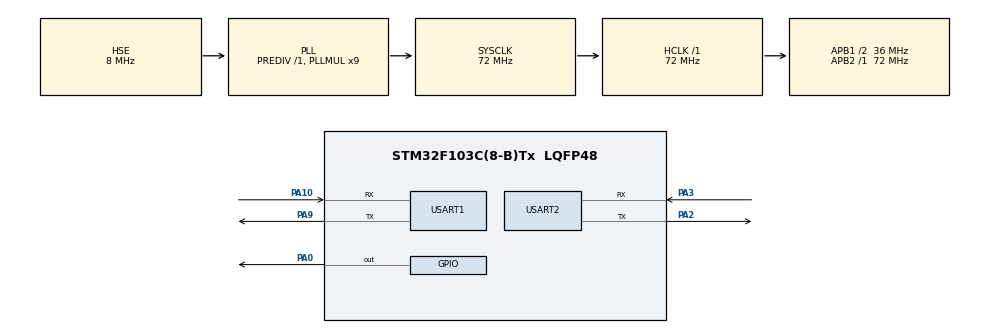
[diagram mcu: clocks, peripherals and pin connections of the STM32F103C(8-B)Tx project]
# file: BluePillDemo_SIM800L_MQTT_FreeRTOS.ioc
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Dma.Request0=USART1_RX
Dma.Request1=USART1_TX
Dma.USART1_RX.0.Direction=DMA_PERIPH_TO_MEMORY
Dma.USART1_RX.0.Instance=DMA1_Channel5
Dma.USART1_RX.0.MemDataAlignment=DMA_MDATAALIGN_BYTE
Dma.USART1_RX.0.MemInc=DMA_MINC_ENABLE
Dma.USART1_RX.0.Mode=DMA_CIRCULAR
Dma.USART1_RX.0.PeriphDataAlignment=DMA_PDATAALIGN_BYTE
Dma.USART1_RX.0.PeriphInc=DMA_PINC_DISABLE
Dma.USART1_RX.0.Priority=DMA_PRIORITY_VERY_HIGH
Dma.USART1_TX.1.Direction=DMA_MEMORY_TO_PERIPH
Dma.USART1_TX.1.Instance=DMA1_Channel4
Dma.USART1_TX.1.MemDataAlignment=DMA_MDATAALIGN_BYTE
Dma.USART1_TX.1.MemInc=DMA_MINC_ENABLE
Dma.USART1_TX.1.Mode=DMA_NORMAL
Dma.USART1_TX.1.PeriphDataAlignment=DMA_PDATAALIGN_BYTE
Dma.USART1_TX.1.PeriphInc=DMA_PINC_DISABLE
Dma.USART1_TX.1.Priority=DMA_PRIORITY_VERY_HIGH
FREERTOS.Mutexes01=modemMutex,Static,modemMutexControlBlock
FREERTOS.Queues01=commandQueue,1,AtCommandPacket_t,0,Static,commandQueueBuffer,commandQueueControlBlock;responseQueue,1,AtResponsePacket_t,0,Static,responseQueueBuffer,responseQueueControlBlock
FREERTOS.Tasks01=main,24,250,mainTask,Default,NULL,Static,mainBuffer,mainControlBlock;modem,8,350,modemTask,Default,NULL,Static,modemBuffer,modemControlBlock
FREERTOS.configCHECK_FOR_STACK_OVERFLOW=2
Mcu.Family=STM32F1
Mcu.Name=STM32F103C(8-B)Tx
Mcu.Package=LQFP48
NVIC.DMA1_Channel4_IRQn=true\:5\:0\:false\:false\:true\:true\:false\:true
NVIC.DMA1_Channel5_IRQn=true\:5\:0\:false\:false\:true\:true\:false\:true
NVIC.PriorityGroup=NVIC_PRIORITYGROUP_4
NVIC.TIM1_UP_IRQn=true\:0\:0\:false\:false\:true\:false\:false\:true
NVIC.TimeBase=TIM1_UP_IRQn
NVIC.TimeBaseIP=TIM1
NVIC.USART1_IRQn=true\:5\:0\:false\:false\:true\:true\:true\:true
PA0-WKUP.Signal=GPIO_Output
PA10.Mode=Asynchronous
PA10.Signal=USART1_RX
PA13.Mode=Serial_Wire
PA13.Signal=SYS_JTMS-SWDIO
PA14.Mode=Serial_Wire
PA14.Signal=SYS_JTCK-SWCLK
PA2.Mode=Asynchronous
PA2.Signal=USART2_TX
PA3.Mode=Asynchronous
PA3.Signal=USART2_RX
PA9.Mode=Asynchronous
PA9.Signal=USART1_TX
PC14-OSC32_IN.Mode=LSE-External-Oscillator
PC14-OSC32_IN.Signal=RCC_OSC32_IN
PC15-OSC32_OUT.Mode=LSE-External-Oscillator
PC15-OSC32_OUT.Signal=RCC_OSC32_OUT
PD0-OSC_IN.Mode=HSE-External-Oscillator
PD0-OSC_IN.Signal=RCC_OSC_IN
PD1-OSC_OUT.Mode=HSE-External-Oscillator
PD1-OSC_OUT.Signal=RCC_OSC_OUT
ProjectManager.HeapSize=0x200
ProjectManager.StackSize=0x400
ProjectManager.TargetToolchain=STM32CubeIDE
RCC.AHBFreq_Value=72000000
RCC.APB1CLKDivider=RCC_HCLK_DIV2
RCC.APB1Freq_Value=36000000
RCC.APB1TimFreq_Value=72000000
RCC.APB2Freq_Value=72000000
RCC.APB2TimFreq_Value=72000000
RCC.HCLKFreq_Value=72000000
RCC.PLLMUL=RCC_PLL_MUL9
RCC.PLLSourceVirtual=RCC_PLLSOURCE_HSE
RCC.SYSCLKFreq_VALUE=72000000
RCC.SYSCLKSource=RCC_SYSCLKSOURCE_PLLCLK
RCC.USBFreq_Value=72000000
USART1.VirtualMode=VM_ASYNC
USART2.VirtualMode=VM_ASYNC
VP_FREERTOS_VS_CMSIS_V2.Mode=CMSIS_V2
VP_SYS_VS_tim1.Mode=TIM1
board=custom

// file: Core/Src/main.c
/* USER CODE BEGIN Header */
/**
  ******************************************************************************
  * @file           : main.c
  * @brief          : Main program body
  ******************************************************************************
  * @attention
  *
  * <h2><center>&copy; Copyright (c) 2020 STMicroelectronics.
  * All rights reserved.</center></h2>
  *
  * This software component is licensed by ST under BSD 3-Clause license,
  * the "License"; You may not use this file except in compliance with the
  * License. You may obtain a copy of the License at:
  *                        opensource.org/licenses/BSD-3-Clause
  *
  ******************************************************************************
  */
/* USER CODE END Header */

#include "main.h"
#include "cmsis_os.h"

/* USER CODE BEGIN Includes */
#include <stdlib.h>
#include <string.h>
#include "task.h"
#include "modem.h"
#include "buffered_serial.h"
#include "mqtt.h"

/* USER CODE END Includes */

/* USER CODE BEGIN PD */
#define ACCESS_POINT_NAME		"everywhere"
#define USER_NAME				"eesecure"
#define PASSWORD				"secure"

/* USER CODE END PD */

UART_HandleTypeDef huart1;
UART_HandleTypeDef huart2;
DMA_HandleTypeDef hdma_usart1_rx;
DMA_HandleTypeDef hdma_usart1_tx;

typedef StaticTask_t osStaticThreadDef_t;
typedef StaticQueue_t osStaticMessageQDef_t;
typedef StaticSemaphore_t osStaticMutexDef_t;
osThreadId_t mainHandle;
uint32_t mainBuffer[ 250 ];
osStaticThreadDef_t mainControlBlock;
osThreadId_t modemHandle;
uint32_t modemBuffer[ 350 ];
osStaticThreadDef_t modemControlBlock;
osMessageQueueId_t commandQueueHandle;
uint8_t commandQueueBuffer[ 1 * sizeof( AtCommandPacket_t ) ];
osStaticMessageQDef_t commandQueueControlBlock;
osMessageQueueId_t responseQueueHandle;
uint8_t responseQueueBuffer[ 1 * sizeof( AtResponsePacket_t ) ];
osStaticMessageQDef_t responseQueueControlBlock;
osMutexId_t modemMutexHandle;
osStaticMutexDef_t modemMutexControlBlock;
/* USER CODE BEGIN PV */
osEventFlagsId_t modemTaskStartedEventHandle;

/* USER CODE END PV */

void SystemClock_Config(void);
static void MX_GPIO_Init(void);
static void MX_DMA_Init(void);
static void MX_USART1_UART_Init(void);
static void MX_USART2_UART_Init(void);
void mainTask(void *argument);
void modemTask(void *argument);

/* USER CODE BEGIN PFP */
void DebugPrint(const char *text);
void ModemDebugPrintStatus(const char *text, ModemStatus_t modemStatus);
void MqttDebugPrintStatus(const char *text, MqttStatus_t mqttStatus);
void PublishCallback(const char *topic, uint8_t topicLength, const uint8_t *payload, uint32_t payloadLength);
void PingResponseCallback(void);
void SubscribeResponseCallback(uint16_t packetIdentifier, bool success);
void UnsubscribeResponseCallback(uint16_t packetIdentifier);

/* USER CODE END PFP */

/* USER CODE BEGIN 0 */
static bool pingResponseReceived;
static bool subscribeResponseReceived;
static bool unsubscribeResponseReceived;
static uint16_t subscribeResponsePacketIdentifier;
static uint16_t unsubscribeResponsePacketIdentifier;

void PublishCallback(const char *topic, uint8_t topicLength, const uint8_t *payload, uint32_t payloadLength)
{
  DebugPrint("Publish callback: ");
  HAL_UART_Transmit(&huart2, (uint8_t *)topic, topicLength, 100U);
  DebugPrint(",");
  HAL_UART_Transmit(&huart2, (uint8_t *)payload, payloadLength, 100U);
  DebugPrint("\r\n");
}

void PingResponseCallback(void)
{
  pingResponseReceived = true;
}

void SubscribeResponseCallback(uint16_t packetIdentifier, bool success)
{
  subscribeResponseReceived = success;
  subscribeResponsePacketIdentifier = packetIdentifier;
  char numberBuffer[10];

  DebugPrint("Subscribe response callback: ");
  if (success)
  {
	DebugPrint("success,");
  }
  else
  {
	DebugPrint("fail,");
  }
  itoa((int)packetIdentifier, numberBuffer, 10);
  DebugPrint(numberBuffer);
  DebugPrint("\r\n");
}

void UnsubscribeResponseCallback(uint16_t packetIdentifier)
{
  unsubscribeResponseReceived = true;
  unsubscribeResponsePacketIdentifier = packetIdentifier;
  char numberBuffer[10];

  DebugPrint("Subscribe response callback: ");
  itoa((int)packetIdentifier, numberBuffer, 10);
  DebugPrint(numberBuffer);
  DebugPrint("\r\n");
}

void MqttDebugPrintStatus(const char *text, MqttStatus_t mqttStatus)
{
  DebugPrint(text);
  DebugPrint(": ");
  DebugPrint(MqttStatusToText(mqttStatus));
  DebugPrint("\r\n");
}

void DebugPrint(const char *text)
{
  HAL_UART_Transmit(&huart2, (uint8_t *)text, strlen(text), 100U);
}

void ModemDebugPrintStatus(const char *text, ModemStatus_t modemStatus)
{
  DebugPrint(text);
  DebugPrint(": ");
  DebugPrint(ModemStatusToText(modemStatus));
  DebugPrint("\r\n");
}

/* USER CODE END 0 */

int main(void)
{

  /* MCU Configuration--------------------------------------------------------*/

  /* Reset of all peripherals, Initializes the Flash interface and the Systick. */
  HAL_Init();

  /* Configure the system clock */
  SystemClock_Config();

  /* Initialize all configured peripherals */
  MX_GPIO_Init();
  MX_DMA_Init();
  MX_USART1_UART_Init();
  MX_USART2_UART_Init();
  /* USER CODE BEGIN 2 */
  serial_init();
  HAL_UART_Transmit(&huart2, (uint8_t *)"MQTT Test\r\n", 11U, 100UL);

  /* USER CODE END 2 */

  osKernelInitialize();

  /* Create the mutex(es) */
  /* definition and creation of modemMutex */
  const osMutexAttr_t modemMutex_attributes = {
    .name = "modemMutex",
    .cb_mem = &modemMutexControlBlock,
    .cb_size = sizeof(modemMutexControlBlock),
  };
  modemMutexHandle = osMutexNew(&modemMutex_attributes);

  /* USER CODE BEGIN RTOS_SEMAPHORES */
  /* add semaphores, ... */
  modemTaskStartedEventHandle = osEventFlagsNew(NULL);

  /* USER CODE END RTOS_SEMAPHORES */

  /* Create the queue(s) */
  /* definition and creation of commandQueue */
  const osMessageQueueAttr_t commandQueue_attributes = {
    .name = "commandQueue",
    .cb_mem = &commandQueueControlBlock,
    .cb_size = sizeof(commandQueueControlBlock),
    .mq_mem = &commandQueueBuffer,
    .mq_size = sizeof(commandQueueBuffer)
  };
  commandQueueHandle = osMessageQueueNew (1, sizeof(AtCommandPacket_t), &commandQueue_attributes);

  /* definition and creation of responseQueue */
  const osMessageQueueAttr_t responseQueue_attributes = {
    .name = "responseQueue",
    .cb_mem = &responseQueueControlBlock,
    .cb_size = sizeof(responseQueueControlBlock),
    .mq_mem = &responseQueueBuffer,
    .mq_size = sizeof(responseQueueBuffer)
  };
  responseQueueHandle = osMessageQueueNew (1, sizeof(AtResponsePacket_t), &responseQueue_attributes);

  /* Create the thread(s) */
  /* definition and creation of main */
  const osThreadAttr_t main_attributes = {
    .name = "main",
    .stack_mem = &mainBuffer[0],
    .stack_size = sizeof(mainBuffer),
    .cb_mem = &mainControlBlock,
    .cb_size = sizeof(mainControlBlock),
    .priority = (osPriority_t) osPriorityNormal,
  };
  mainHandle = osThreadNew(mainTask, NULL, &main_attributes);

  /* definition and creation of modem */
  const osThreadAttr_t modem_attributes = {
    .name = "modem",
    .stack_mem = &modemBuffer[0],
    .stack_size = sizeof(modemBuffer),
    .cb_mem = &modemControlBlock,
    .cb_size = sizeof(modemControlBlock),
    .priority = (osPriority_t) osPriorityLow,
  };
  modemHandle = osThreadNew(modemTask, NULL, &modem_attributes);

  /* Start scheduler */
  osKernelStart();

  /* We should never get here as control is now taken by the scheduler */

  /* Infinite loop */
  while (1)
  {

  }
}

void SystemClock_Config(void)
{
  RCC_OscInitTypeDef RCC_OscInitStruct = {0};
  RCC_ClkInitTypeDef RCC_ClkInitStruct = {0};

  /** Initializes the CPU, AHB and APB busses clocks
  */
  RCC_OscInitStruct.OscillatorType = RCC_OSCILLATORTYPE_HSE;
  RCC_OscInitStruct.HSEState = RCC_HSE_ON;
  RCC_OscInitStruct.HSEPredivValue = RCC_HSE_PREDIV_DIV1;
  RCC_OscInitStruct.HSIState = RCC_HSI_ON;
  RCC_OscInitStruct.PLL.PLLState = RCC_PLL_ON;
  RCC_OscInitStruct.PLL.PLLSource = RCC_PLLSOURCE_HSE;
  RCC_OscInitStruct.PLL.PLLMUL = RCC_PLL_MUL9;
  if (HAL_RCC_OscConfig(&RCC_OscInitStruct) != HAL_OK)
  {
    Error_Handler();
  }
  /** Initializes the CPU, AHB and APB busses clocks
  */
  RCC_ClkInitStruct.ClockType = RCC_CLOCKTYPE_HCLK|RCC_CLOCKTYPE_SYSCLK
                              |RCC_CLOCKTYPE_PCLK1|RCC_CLOCKTYPE_PCLK2;
  RCC_ClkInitStruct.SYSCLKSource = RCC_SYSCLKSOURCE_PLLCLK;
  RCC_ClkInitStruct.AHBCLKDivider = RCC_SYSCLK_DIV1;
  RCC_ClkInitStruct.APB1CLKDivider = RCC_HCLK_DIV2;
  RCC_ClkInitStruct.APB2CLKDivider = RCC_HCLK_DIV1;

  if (HAL_RCC_ClockConfig(&RCC_ClkInitStruct, FLASH_LATENCY_2) != HAL_OK)
  {
    Error_Handler();
  }
}

static void MX_USART1_UART_Init(void)
{

  huart1.Instance = USART1;
  huart1.Init.BaudRate = 115200;
  huart1.Init.WordLength = UART_WORDLENGTH_8B;
  huart1.Init.StopBits = UART_STOPBITS_1;
  huart1.Init.Parity = UART_PARITY_NONE;
  huart1.Init.Mode = UART_MODE_TX_RX;
  huart1.Init.HwFlowCtl = UART_HWCONTROL_NONE;
  huart1.Init.OverSampling = UART_OVERSAMPLING_16;
  if (HAL_UART_Init(&huart1) != HAL_OK)
  {
    Error_Handler();
  }

}

static void MX_USART2_UART_Init(void)
{

  huart2.Instance = USART2;
  huart2.Init.BaudRate = 115200;
  huart2.Init.WordLength = UART_WORDLENGTH_8B;
  huart2.Init.StopBits = UART_STOPBITS_1;
  huart2.Init.Parity = UART_PARITY_NONE;
  huart2.Init.Mode = UART_MODE_TX_RX;
  huart2.Init.HwFlowCtl = UART_HWCONTROL_NONE;
  huart2.Init.OverSampling = UART_OVERSAMPLING_16;
  if (HAL_UART_Init(&huart2) != HAL_OK)
  {
    Error_Handler();
  }

}

static void MX_DMA_Init(void)
{

  /* DMA controller clock enable */
  __HAL_RCC_DMA1_CLK_ENABLE();

  /* DMA interrupt init */
  /* DMA1_Channel4_IRQn interrupt configuration */
  HAL_NVIC_SetPriority(DMA1_Channel4_IRQn, 5, 0);
  HAL_NVIC_EnableIRQ(DMA1_Channel4_IRQn);
  /* DMA1_Channel5_IRQn interrupt configuration */
  HAL_NVIC_SetPriority(DMA1_Channel5_IRQn, 5, 0);
  HAL_NVIC_EnableIRQ(DMA1_Channel5_IRQn);

}

static void MX_GPIO_Init(void)
{
  GPIO_InitTypeDef GPIO_InitStruct = {0};

  /* GPIO Ports Clock Enable */
  __HAL_RCC_GPIOC_CLK_ENABLE();
  __HAL_RCC_GPIOD_CLK_ENABLE();
  __HAL_RCC_GPIOA_CLK_ENABLE();

  /*Configure GPIO pin Output Level */
  HAL_GPIO_WritePin(GPIOA, GPIO_PIN_0, GPIO_PIN_RESET);

  /*Configure GPIO pin : PA0 */
  GPIO_InitStruct.Pin = GPIO_PIN_0;
  GPIO_InitStruct.Mode = GPIO_MODE_OUTPUT_PP;
  GPIO_InitStruct.Pull = GPIO_NOPULL;
  GPIO_InitStruct.Speed = GPIO_SPEED_FREQ_LOW;
  HAL_GPIO_Init(GPIOA, &GPIO_InitStruct);

}

void mainTask(void *argument)
{
  /* USER CODE BEGIN 5 */
	  // wait for modem task to start
	  osEventFlagsWait(modemTaskStartedEventHandle, 0x00000001UL, osFlagsWaitAny, osWaitForever);

	  DebugPrint("Modem task started\r\n");

	  ModemStatus_t modemStatus;
	  MqttStatus_t mqttStatus;
	  uint8_t loops;
	  bool registrationStatus;
	  uint8_t signalStrength;
	  char ipAddress[MODEM_MAX_IP_ADDRESS_LENGTH];

	  DebugPrint("1 Testing connection to modem\r\n");
	  modemStatus = ModemHello(250UL);
	  ModemDebugPrintStatus("->1 Hello", modemStatus);

	  DebugPrint("2 Registering on network\r\n");
	  do
	  {
	    modemStatus = ModemGetNetworkRegistrationStatus(&registrationStatus, 250UL);
		osDelay(1000UL);
	  } while (!registrationStatus);
	  ModemDebugPrintStatus("->2 Register on network", modemStatus);

	  DebugPrint("3 Getting signal strength\r\n");
	  modemStatus = ModemGetSignalStrength(&signalStrength, 250UL);
	  ModemDebugPrintStatus("->3 Get signal strength", modemStatus);

	  DebugPrint("4 Setting manual data read\r\n");
	  modemStatus = ModemSetManualDataRead(250UL);
	  ModemDebugPrintStatus("->4 Set manual read", modemStatus);

	  DebugPrint("5 Configuring data connection\r\n");
	  modemStatus = ModemConfigureDataConnection(ACCESS_POINT_NAME, USER_NAME, PASSWORD, 250UL);
	  ModemDebugPrintStatus("->5 Configure data connection", modemStatus);

	  DebugPrint("6 Activating data connection\r\n");
	  modemStatus = ModemActivateDataConnection(10000UL);
	  ModemDebugPrintStatus("->6 Activate data connection", modemStatus);

	  DebugPrint("7 Getting own IP address\r\n");
	  modemStatus = ModemGetOwnIpAddress(ipAddress, MODEM_MAX_IP_ADDRESS_LENGTH, 250UL);
	  ModemDebugPrintStatus("->7 Get own IP address", modemStatus);

	  MqttSetPingResponseCallback(PingResponseCallback);
	  MqttSetPublishCallback(PublishCallback);
	  MqttSetSubscribeResponseCallback(SubscribeResponseCallback);
	  MqttSetUnsubscribeResponseCallback(UnsubscribeResponseCallback);

	  // open TCP connection to broker
	  DebugPrint("8 Opening TCP connection\r\n");
	  //modemStatus = ModemOpenTcpConnection("test.mosquitto.org", 1883U, 8000UL);			// this is an alternative public broker
	  modemStatus = ModemOpenTcpConnection("broker.hivemq.com", 1883U, 8000UL);
	  ModemDebugPrintStatus("->8 Open TCP connection", modemStatus);

	  // connect to broker
	  DebugPrint("9 Connecting to MQTT broker\r\n");
	  mqttStatus = MqttConnect("1234", NULL, NULL, 600U, 20000UL);

	  MqttDebugPrintStatus("->9 MQTT connect", mqttStatus);
	  if (mqttStatus != MQTT_OK)
	  {
		DebugPrint("Could not connect, giving up\r\n");
		while (true)
		{
		  osDelay(1000UL);
	    }
	  }

	  // ping broker
	  DebugPrint("10 Pinging MQTT broker\r\n");
	  pingResponseReceived = false;
	  mqttStatus = MqttPing(5000UL);
	  MqttDebugPrintStatus("->10 MQTT ping", mqttStatus);

	  while (true)
	  {
		  mqttStatus = MqttHandleResponse(5000UL);
		  MqttDebugPrintStatus("MQTT ping handle response", mqttStatus);

		  if (pingResponseReceived)
		  {
			  break;
		  }
		  osDelay(1000UL);
	  }
	  DebugPrint("->10 MQTT ping response received\r\n");

	  // subscribe to BluePillDemo/test1
	  DebugPrint("11 Subscribing to BluePillDemo/test1\r\n");
	  subscribeResponseReceived = false;
	  mqttStatus = MqttSubscribe("BluePillDemo/test1", 0x0001U, 5000UL);
	  MqttDebugPrintStatus("->11 MQTT subscribe", mqttStatus);

	  while (true)
	  {
	    mqttStatus = MqttHandleResponse(5000UL);
	    MqttDebugPrintStatus("MQTT subscribe handle response", mqttStatus);

	    if (subscribeResponseReceived)
	    {
		  break;
	    }
	    osDelay(1000UL);
	  }
	  DebugPrint("->11 MQTT subscribe response received\r\n");

	  // wait for incoming publishes (1)
	  DebugPrint("12 Waiting for incoming publish responses for 20 seconds\r\n");
	  loops = 0U;
	  while (true)
	  {
		  mqttStatus = MqttHandleResponse(5000UL);
		  MqttDebugPrintStatus("MQTT subscribe handle response", mqttStatus);

		  if (loops == 10U)
		  {
			  // publish to BluePillDemo/test1
			  DebugPrint("13 Publishing to BluePillDemo/test1\r\n");
			  mqttStatus = MqttPublish("BluePillDemo/test1", (uint8_t *)"42", 2U, false, 5000UL);
			  MqttDebugPrintStatus("13-> MQTT publish", mqttStatus);
		  }

		  if (loops == 20U)
		  {
			  break;
		  }
		  loops++;
		  osDelay(1000UL);
	  }
	  DebugPrint("->12 Waiting for incoming publish responses (1) finished\r\n");

	  // ping broker again
	  DebugPrint("14 Pinging MQTT broker\r\n");
	  pingResponseReceived = false;
	  mqttStatus = MqttPing(5000UL);
	  MqttDebugPrintStatus("->14 MQTT ping", mqttStatus);

	  while (true)
	  {
		mqttStatus = MqttHandleResponse(5000UL);
		MqttDebugPrintStatus("MQTT ping handle response", mqttStatus);

		if (pingResponseReceived)
		{
		  break;
		}
		osDelay(1000UL);
	  }
	  DebugPrint("->14 MQTT ping response received\r\n");

	  // unsubscribe to BluePillDemo/test1
	  DebugPrint("15 Unsubscribing to BluePillDemo/test1\r\n");
	  unsubscribeResponseReceived = false;
	  mqttStatus = MqttUnsubscribe("BluePillDemo/test1", 0x0002U, 5000UL);
	  MqttDebugPrintStatus("->15 MQTT unsubscribe", mqttStatus);

	  while (true)
	  {
	    mqttStatus = MqttHandleResponse(5000UL);
	    MqttDebugPrintStatus("MQTT unsubscribe handle response", mqttStatus);

	    if (unsubscribeResponseReceived)
	    {
		  break;
	    }
	    osDelay(1000UL);
	  }
	  DebugPrint("->15 MQTT subscribe response received\r\n");

	  // wait for incoming publishes (2)
	  DebugPrint("16 Waiting for incoming publish responses for 10 seconds\r\n");
	  loops = 0U;
	  while (true)
	  {
		  mqttStatus = MqttHandleResponse(5000UL);
		  MqttDebugPrintStatus("MQTT subscribe handle response", mqttStatus);

		  if (loops == 5U)
		  {
			  // publish to BluePillDemo/test1
			  DebugPrint("17 Publishing to BluePillDemo/test1\r\n");
			  mqttStatus = MqttPublish("BluePillDemo/test1", (uint8_t *)"24", 2U, false, 5000UL);
			  MqttDebugPrintStatus("17-> MQTT publish", mqttStatus);
		  }

		  if (loops == 10U)
		  {
			  break;
		  }
		  loops++;
		  osDelay(1000UL);
	  }
	  DebugPrint("->16 Waiting for incoming publish responses (2) finished\r\n");

	  // disconnect from broker
	  DebugPrint("18 Disconnecting from broker\r\n");
	  mqttStatus = MqttDisconnect(10000UL);
	  MqttDebugPrintStatus("->18 MQTT disconnect", mqttStatus);

	  // shut down data connection
	  DebugPrint("19 Deactivating data connection\r\n");
	  modemStatus = ModemDeactivateDataConnection(10000UL);
	  ModemDebugPrintStatus("->19 Deactivate data connection", modemStatus);

	  // power down modem
	  DebugPrint("20 Power down modem");
	  modemStatus = ModemPowerDown(10000UL);
	  ModemDebugPrintStatus("->20 Power down modem", modemStatus);

	  (void)modemStatus;
	  (void)mqttStatus;

  /* Infinite loop */
  for(;;)
  {
    osDelay(1);
  }
  /* USER CODE END 5 */
}

void modemTask(void *argument)
{
  /* USER CODE BEGIN modemTask */
  ModemReset();
  ModemInit();

  // signal main task that this thread has started
  osEventFlagsSet(modemTaskStartedEventHandle, 0x00000001U);

  /* Infinite loop */
  DoModemTask();

  /* Infinite loop */
  for(;;)
  {
    osDelay(1);
  }
  /* USER CODE END modemTask */
}

void HAL_TIM_PeriodElapsedCallback(TIM_HandleTypeDef *htim)
{
  if (htim->Instance == TIM1) {
    HAL_IncTick();
  }
}

void Error_Handler(void)
{
}

/************************ (C) COPYRIGHT STMicroelectronics *****END OF FILE****/
